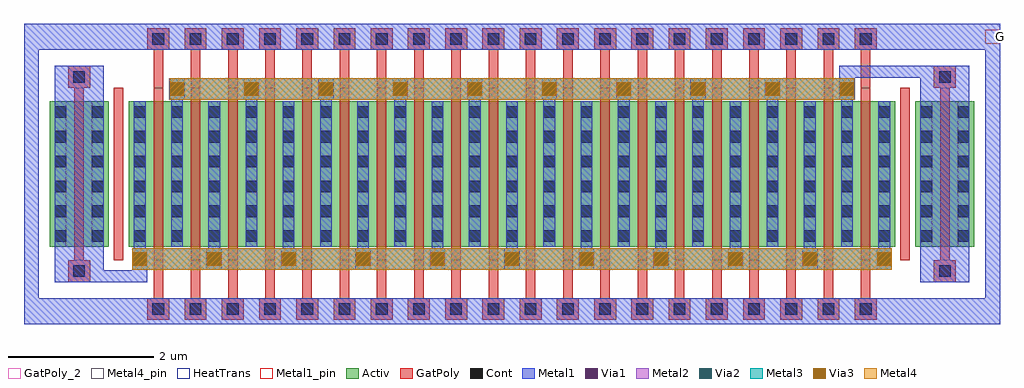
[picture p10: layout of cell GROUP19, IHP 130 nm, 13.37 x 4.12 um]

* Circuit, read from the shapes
.subckt GROUP19 G
XM1 nmos$2_priv1$1_0/D nmos$2_priv1$1_0/D nmos$2_priv1$1_0/D VSUBS sg13_lv_nmos w=2u l=0.13u
XM2 nmos$2_priv1$1_0/S G nmos$2_priv1$1_0/D VSUBS sg13_lv_nmos w=2u l=0.13u m=20
XM3 nmos$2_priv1$1_0/S nmos$2_priv1$1_0/S nmos$2_priv1$1_0/S VSUBS sg13_lv_nmos w=2u l=0.13u
.ends

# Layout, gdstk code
import gdstk
lib = gdstk.Library(unit=1e-6, precision=1e-09)
def R(c, l, rs):  # rectangles x0, y0, x1, y1
    for r in rs: c.add(gdstk.rectangle(r[:2], r[2:], *l))
def A(c, l, x, y, w, h, nx, ny, dx, dy):  # array of equal rectangles
    R(c, l, [(x+i*dx, y+j*dy, x+i*dx+w, y+j*dy+h) for i in range(nx) for j in range(ny)])
Activ = (1, 0)
GatPoly = (5, 0)
GatPoly_2 = (5, 2)
Cont = (6, 0)
Metal1 = (8, 0)
Metal1_pin = (8, 2)
Metal2 = (10, 0)
Via1 = (19, 0)
Via2 = (29, 0)
Metal3 = (30, 0)
Via3 = (49, 0)
Metal4 = (50, 0)
Metal4_pin = (50, 2)
HeatTrans = (51, 0)

nmos_2_priv1_1 = lib.new_cell('nmos$2_priv1$1')
A(nmos_2_priv1_1, Activ, 0, 0, 0.3, 0.3, 21, 1, 0.51, 0)
R(nmos_2_priv1_1, Activ, [(0,0,10.5,2)])
A(nmos_2_priv1_1, GatPoly, 0.255, -1, 0.3, 0.3, 20, 2, 0.51, 3.7)
A(nmos_2_priv1_1, GatPoly, 0.34, -0.7, 0.13, 0.52, 20, 2, 0.51, 2.88)
A(nmos_2_priv1_1, GatPoly, 0.34, -0.18, 0.13, 2.36, 20, 1, 0.51, 0)
R(nmos_2_priv1_1, GatPoly_2, [(0.34,-0.18,0.47,2.18)])
A(nmos_2_priv1_1, Cont, 0.325, -0.93, 0.16, 0.16, 20, 2, 0.51, 3.7)
A(nmos_2_priv1_1, Cont, 0.07, 0.07, 0.16, 0.16, 21, 6, 0.51, 0.34)
A(nmos_2_priv1_1, Metal1, 0.27, -1.06, 0.27, 0.36, 20, 2, 0.51, 3.76)
A(nmos_2_priv1_1, Metal1, 0.045, -0.31, 0.21, 0.29, 11, 1, 1.02, 0)
A(nmos_2_priv1_1, Metal1, 0.07, -0.035, 0.16, 0.05, 11, 1, 1.02, 0)
A(nmos_2_priv1_1, Metal1, 0.07, 0, 0.16, 2, 21, 1, 0.51, 0)
A(nmos_2_priv1_1, Metal1, 0.58, 1.985, 0.16, 0.05, 10, 1, 1.02, 0)
A(nmos_2_priv1_1, Metal1, 0.555, 2.02, 0.21, 0.29, 10, 1, 1.02, 0)
R(nmos_2_priv1_1, Metal1_pin, [(0.07,0,0.23,2), (0.58,0,0.74,2)])
A(nmos_2_priv1_1, Metal2, 0.05, -0.31, 0.2, 0.29, 11, 1, 1.02, 0)
A(nmos_2_priv1_1, Metal2, 0.56, 2.02, 0.2, 0.29, 10, 1, 1.02, 0)
R(nmos_2_priv1_1, Metal2, [(0.05,-0.31,10.45,-0.02), (0.56,2.02,9.94,2.31)])
A(nmos_2_priv1_1, Via1, 0.055, -0.26, 0.19, 0.19, 11, 1, 1.02, 0)
A(nmos_2_priv1_1, Via1, 0.565, 2.07, 0.19, 0.19, 10, 1, 1.02, 0)
A(nmos_2_priv1_1, Via2, 0.055, -0.26, 0.19, 0.19, 11, 1, 1.02, 0)
A(nmos_2_priv1_1, Via2, 0.565, 2.07, 0.19, 0.19, 10, 1, 1.02, 0)
A(nmos_2_priv1_1, Metal3, 0.05, -0.31, 0.2, 0.29, 11, 1, 1.02, 0)
A(nmos_2_priv1_1, Metal3, 0.56, 2.02, 0.2, 0.29, 10, 1, 1.02, 0)
R(nmos_2_priv1_1, Metal3, [(0.05,-0.31,10.45,-0.02), (0.56,2.02,9.94,2.31)])
A(nmos_2_priv1_1, Via3, 0.055, -0.26, 0.19, 0.19, 11, 1, 1.02, 0)
A(nmos_2_priv1_1, Via3, 0.565, 2.07, 0.19, 0.19, 10, 1, 1.02, 0)
A(nmos_2_priv1_1, Metal4, 0.05, -0.31, 0.2, 0.29, 11, 1, 1.02, 0)
A(nmos_2_priv1_1, Metal4, 0.56, 2.02, 0.2, 0.29, 10, 1, 1.02, 0)
R(nmos_2_priv1_1, Metal4, [(0.05,-0.31,10.45,-0.02), (0.56,2.02,9.94,2.31)])
R(nmos_2_priv1_1, Metal4_pin, [(10.255,-0.26,10.445,-0.07), (9.745,2.07,9.935,2.26)])
A(nmos_2_priv1_1, HeatTrans, 0.34, -0.18, 0.13, 2.36, 20, 1, 0.51, 0)
nmos_2_priv1_1.add(gdstk.Label('nmos', (0.405,1), layer=63, texttype=0))
nmos_2_priv1_1.add(gdstk.Label('nmos', (0.405,1), layer=51, texttype=0))
nmos_2_priv1_1.add(gdstk.Label('nmos', (0.915,1), layer=51, texttype=0))
nmos_2_priv1_1.add(gdstk.Label('nmos', (1.425,1), layer=51, texttype=0))
nmos_2_priv1_1.add(gdstk.Label('nmos', (1.935,1), layer=51, texttype=0))
nmos_2_priv1_1.add(gdstk.Label('nmos', (2.445,1), layer=51, texttype=0))
nmos_2_priv1_1.add(gdstk.Label('nmos', (2.955,1), layer=51, texttype=0))
nmos_2_priv1_1.add(gdstk.Label('nmos', (3.465,1), layer=51, texttype=0))
nmos_2_priv1_1.add(gdstk.Label('nmos', (3.975,1), layer=51, texttype=0))
nmos_2_priv1_1.add(gdstk.Label('nmos', (4.485,1), layer=51, texttype=0))
nmos_2_priv1_1.add(gdstk.Label('nmos', (4.995,1), layer=51, texttype=0))
nmos_2_priv1_1.add(gdstk.Label('nmos', (5.505,1), layer=51, texttype=0))
nmos_2_priv1_1.add(gdstk.Label('nmos', (6.015,1), layer=51, texttype=0))
nmos_2_priv1_1.add(gdstk.Label('nmos', (6.525,1), layer=51, texttype=0))
nmos_2_priv1_1.add(gdstk.Label('nmos', (7.035,1), layer=51, texttype=0))
nmos_2_priv1_1.add(gdstk.Label('nmos', (7.545,1), layer=51, texttype=0))
nmos_2_priv1_1.add(gdstk.Label('nmos', (8.055,1), layer=51, texttype=0))
nmos_2_priv1_1.add(gdstk.Label('nmos', (8.565,1), layer=51, texttype=0))
nmos_2_priv1_1.add(gdstk.Label('nmos', (9.075,1), layer=51, texttype=0))
nmos_2_priv1_1.add(gdstk.Label('nmos', (9.585,1), layer=51, texttype=0))
nmos_2_priv1_1.add(gdstk.Label('nmos', (10.095,1), layer=51, texttype=0))
nmos_2_priv1_1.add(gdstk.Label('S', (9.84,2.165), layer=50, texttype=0))
nmos_2_priv1_1.add(gdstk.Label('D', (10.35,-0.165), layer=50, texttype=0))

nmos_3_priv1_1 = lib.new_cell('nmos$3_priv1$1')
R(nmos_3_priv1_1, Activ, [(0,0,0.3,0.3), (0,0,0.81,2), (0.51,0,0.81,0.3)])
R(nmos_3_priv1_1, GatPoly, [(0.255,-0.48,0.555,-0.18), (0.34,-0.18,0.47,2.18), (0.255,2.18,0.555,2.48)])
R(nmos_3_priv1_1, GatPoly_2, [(0.34,-0.18,0.47,2.18)])
A(nmos_3_priv1_1, Cont, 0.07, 0.07, 0.16, 0.16, 1, 6, 0, 0.34)
A(nmos_3_priv1_1, Cont, 0.58, 0.07, 0.16, 0.16, 1, 6, 0, 0.34)
R(nmos_3_priv1_1, Cont, [(0.325,-0.41,0.485,-0.25), (0.325,2.25,0.485,2.41)])
R(nmos_3_priv1_1, Metal1, [(0.07,-0.48,0.74,2.48), (0.07,0,0.23,2), (0.58,0,0.74,2)])
R(nmos_3_priv1_1, Metal1_pin, [(0.07,0,0.23,2), (0.58,0,0.74,2)])
R(nmos_3_priv1_1, HeatTrans, [(0.34,-0.18,0.47,2.18)])
nmos_3_priv1_1.add(gdstk.Label('nmos', (0.405,1), layer=63, texttype=0))
nmos_3_priv1_1.add(gdstk.Label('nmos', (0.405,1), layer=51, texttype=0))

nmos_3_priv2_1 = lib.new_cell('nmos$3_priv2$1')
R(nmos_3_priv2_1, Activ, [(0,0,0.3,0.3), (0,0,0.81,2), (0.51,0,0.81,0.3)])
R(nmos_3_priv2_1, GatPoly, [(0.255,-0.48,0.555,-0.18), (0.34,-0.18,0.47,2.18), (0.255,2.18,0.555,2.48)])
R(nmos_3_priv2_1, GatPoly_2, [(0.34,-0.18,0.47,2.18)])
A(nmos_3_priv2_1, Cont, 0.07, 0.07, 0.16, 0.16, 1, 6, 0, 0.34)
A(nmos_3_priv2_1, Cont, 0.58, 0.07, 0.16, 0.16, 1, 6, 0, 0.34)
R(nmos_3_priv2_1, Cont, [(0.325,-0.41,0.485,-0.25), (0.325,2.25,0.485,2.41)])
R(nmos_3_priv2_1, Metal1, [(0.07,-0.48,0.74,2.48), (0.07,0,0.23,2), (0.58,0,0.74,2)])
R(nmos_3_priv2_1, Metal1_pin, [(0.07,0,0.23,2), (0.58,0,0.74,2)])
R(nmos_3_priv2_1, HeatTrans, [(0.34,-0.18,0.47,2.18)])
nmos_3_priv2_1.add(gdstk.Label('nmos', (0.405,1), layer=63, texttype=0))
nmos_3_priv2_1.add(gdstk.Label('nmos', (0.405,1), layer=51, texttype=0))

group19 = lib.new_cell('GROUP19')
R(group19, GatPoly, [(270.385,51.12,270.515,53.48), (281.16,51.12,281.29,53.48)])
R(group19, Metal1, [(269.155,50.24,282.525,50.6), (269.155,50.24,269.355,54.36), (282.325,50.24,282.525,54.36), (270.245,50.82,270.845,50.98), (270.635,50.98,270.845,51.28), (280.325,53.32,280.535,53.62), (280.325,53.62,281.435,53.78), (269.155,54,282.525,54.36)])
R(group19, Metal1_pin, [(282.325,54.085,282.525,54.275)])
group19.add(gdstk.Reference(nmos_2_priv1_1, (270.59,51.3)))
group19.add(gdstk.Reference(nmos_3_priv1_1, (269.505,51.3)))
group19.add(gdstk.Reference(nmos_3_priv2_1, (281.365,51.3)))
group19.add(gdstk.Label('G', (282.525,54.18), layer=8, texttype=0))

lib.write_gds('GROUP19.gds')
